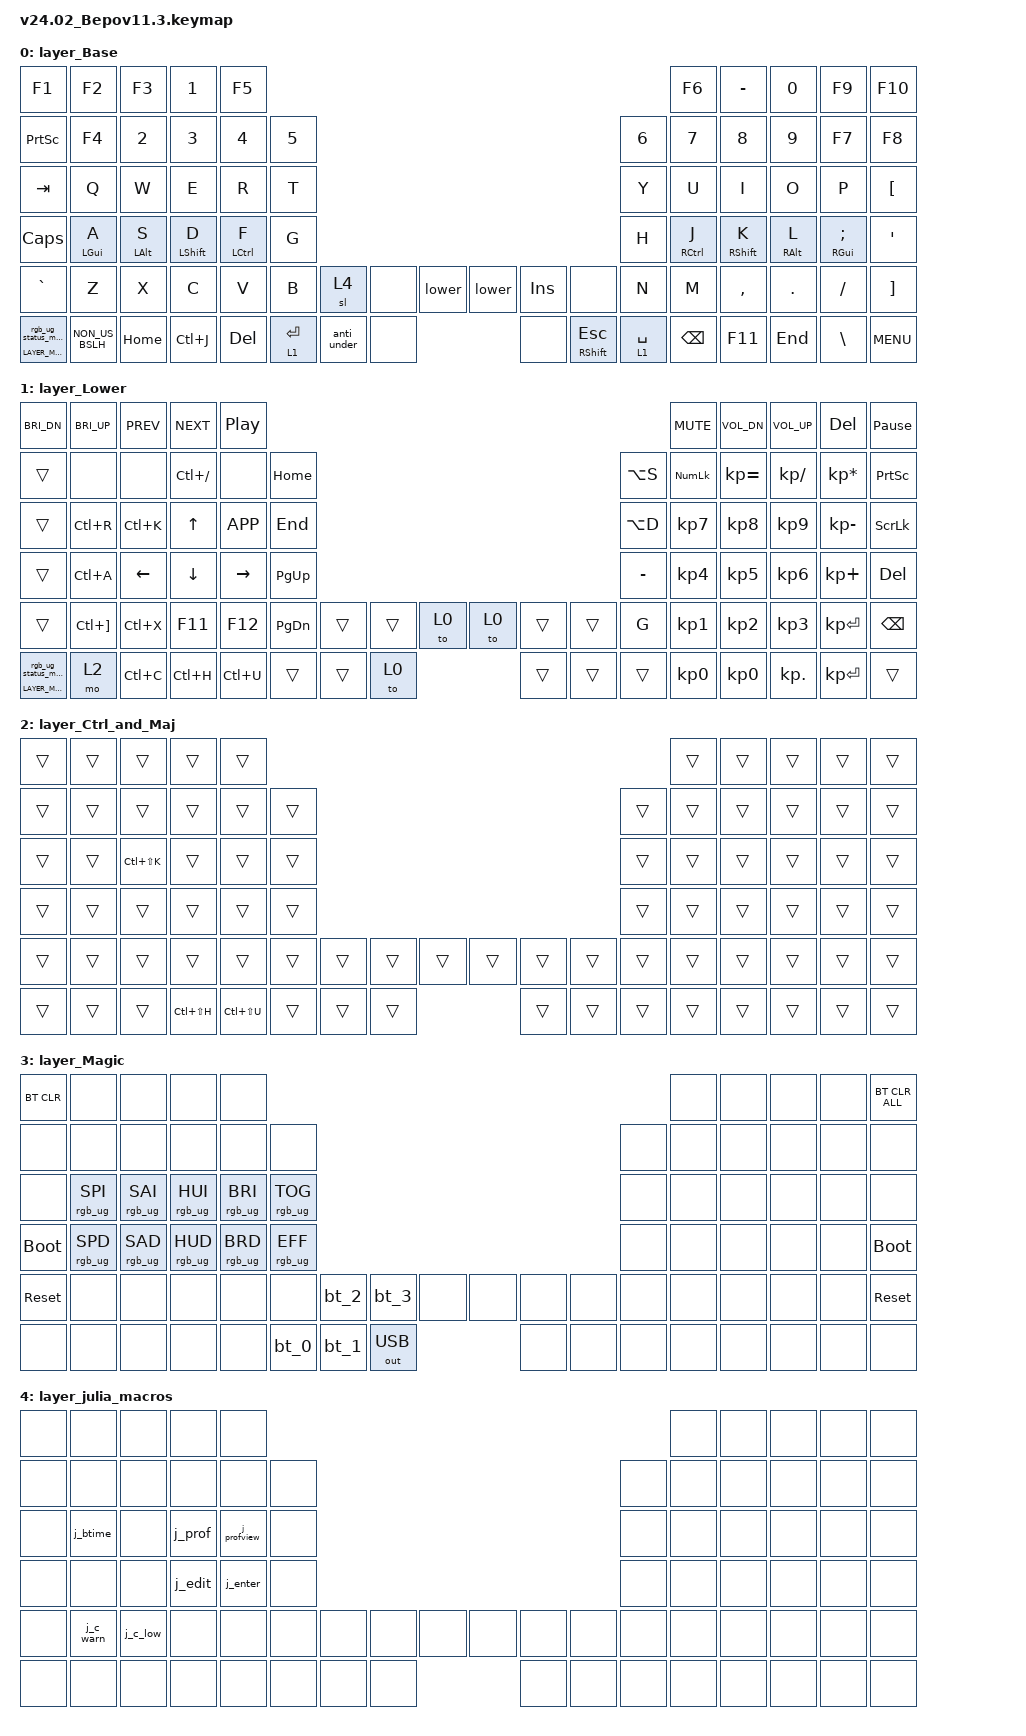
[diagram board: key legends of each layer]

/*
 * Copyright (c) 2020 The ZMK Contributors
 * Copyright (c) 2023 Innaworks Development Limited, trading as MoErgo
 *
 * SPDX-License-Identifier: MIT
 */


/* THIS FILE WAS GENERATED BY GLOVE80 LAYOUT EDITOR
 *
 * This file was generated automatically. You may or may not want to
 * edit it directly.
 */

#include <behaviors.dtsi>
/* Include all behavior includes needed */
#include <dt-bindings/zmk/outputs.h>
#include <dt-bindings/zmk/keys.h>
#include <dt-bindings/zmk/bt.h>
#include <dt-bindings/zmk/rgb.h>

/* Automatically generated layer name #define */
#define LAYER_Base 0
#define LAYER_Lower 1
#define LAYER_Ctrl_and_Maj 2
#define LAYER_Magic 3
#define LAYER_julia_macros 4

/* To deal with the situation where there is no Lower layer, to keep &lower happy */
#ifndef LAYER_Lower
#define LAYER_Lower 0
#endif

/* Custom Device-tree */



/* Glove80 system behavior & macros */
/ {
    behaviors {
        // For the "layer" key, it'd nice to be able to use it as either a shift or a toggle.
        // Configure it as a tap dance, so the first tap (or hold) is a &mo and the second tap is a &to
        lower: lower {
            compatible = "zmk,behavior-tap-dance";
            label = "LAYER_TAP_DANCE";
            #binding-cells = <0>;
            tapping-term-ms = <200>;
            bindings = <&mo LAYER_Lower>, <&to LAYER_Lower>;
        };
    };
};

/ {
    macros {
        rgb_ug_status_macro: rgb_ug_status_macro {
            label = "RGB_UG_STATUS";
            compatible = "zmk,behavior-macro";
            #binding-cells = <0>;
            bindings
                = <&rgb_ug RGB_STATUS>;
        };
    };
};


/ {
#ifdef BT_DISC_CMD
    behaviors {
        bt_0: bt_0 {
            compatible = "zmk,behavior-tap-dance";
            label = "BT_0";
            #binding-cells = <0>;
            tapping-term-ms = <200>;
            bindings = <&bt_select_0>, <&bt BT_DISC 0>;
        };
        bt_1: bt_1 {
            compatible = "zmk,behavior-tap-dance";
            label = "BT_1";
            #binding-cells = <0>;
            tapping-term-ms = <200>;
            bindings = <&bt_select_1>, <&bt BT_DISC 1>;
        };
        bt_2: bt_2 {
            compatible = "zmk,behavior-tap-dance";
            label = "BT_2";
            #binding-cells = <0>;
            tapping-term-ms = <200>;
            bindings = <&bt_select_2>, <&bt BT_DISC 2>;
        };
        bt_3: bt_3 {
            compatible = "zmk,behavior-tap-dance";
            label = "BT_3";
            #binding-cells = <0>;
            tapping-term-ms = <200>;
            bindings = <&bt_select_3>, <&bt BT_DISC 3>;
        };
    };
    macros {
        bt_select_0: bt_select_0 {
            label = "BT_SELECT_0";
            compatible = "zmk,behavior-macro";
            #binding-cells = <0>;
            bindings
                = <&out OUT_BLE>,
                  <&bt BT_SEL 0>;
        };
        bt_select_1: bt_select_1 {
            label = "BT_SELECT_1";
            compatible = "zmk,behavior-macro";
            #binding-cells = <0>;
            bindings
                = <&out OUT_BLE>,
                  <&bt BT_SEL 1>;
        };
        bt_select_2: bt_select_2 {
            label = "BT_SELECT_2";
            compatible = "zmk,behavior-macro";
            #binding-cells = <0>;
            bindings
                = <&out OUT_BLE>,
                  <&bt BT_SEL 2>;
        };
        bt_select_3: bt_select_3 {
            label = "BT_SELECT_3";
            compatible = "zmk,behavior-macro";
            #binding-cells = <0>;
            bindings
                = <&out OUT_BLE>,
                  <&bt BT_SEL 3>;
        };
    };
#else
    macros {
        bt_0: bt_0 {
            label = "BT_0";
            compatible = "zmk,behavior-macro";
            #binding-cells = <0>;
            bindings
                = <&out OUT_BLE>,
                  <&bt BT_SEL 0>;
        };
        bt_1: bt_1 {
            label = "BT_1";
            compatible = "zmk,behavior-macro";
            #binding-cells = <0>;
            bindings
                = <&out OUT_BLE>,
                  <&bt BT_SEL 1>;
        };
        bt_2: bt_2 {
            label = "BT_2";
            compatible = "zmk,behavior-macro";
            #binding-cells = <0>;
            bindings
                = <&out OUT_BLE>,
                  <&bt BT_SEL 2>;
        };
        bt_3: bt_3 {
            label = "BT_3";
            compatible = "zmk,behavior-macro";
            #binding-cells = <0>;
            bindings
                = <&out OUT_BLE>,
                  <&bt BT_SEL 3>;
        };
    };
#endif
};

/ {
    behaviors {
        magic: magic {
            compatible = "zmk,behavior-hold-tap";
            label = "MAGIC_HOLD_TAP";
            #binding-cells = <2>;
            flavor = "tap-preferred";
            tapping-term-ms = <200>;
            bindings = <&mo>, <&rgb_ug_status_macro>;
        };
    };
};

/* #define for key positions */
#define POS_LH_T1 52
#define POS_LH_T2 53
#define POS_LH_T3 54
#define POS_LH_T4 69
#define POS_LH_T5 70
#define POS_LH_T6 71
#define POS_LH_C1R2 15
#define POS_LH_C1R3 27
#define POS_LH_C1R4 39
#define POS_LH_C1R5 51
#define POS_LH_C2R1 4
#define POS_LH_C2R2 14
#define POS_LH_C2R3 26
#define POS_LH_C2R4 38
#define POS_LH_C2R5 50
#define POS_LH_C2R6 68
#define POS_LH_C3R1 3
#define POS_LH_C3R2 13
#define POS_LH_C3R3 25
#define POS_LH_C3R4 37
#define POS_LH_C3R5 49
#define POS_LH_C3R6 67
#define POS_LH_C4R1 2
#define POS_LH_C4R2 12
#define POS_LH_C4R3 24
#define POS_LH_C4R4 36
#define POS_LH_C4R5 48
#define POS_LH_C4R6 66
#define POS_LH_C5R1 1
#define POS_LH_C5R2 11
#define POS_LH_C5R3 23
#define POS_LH_C5R4 35
#define POS_LH_C5R5 47
#define POS_LH_C5R6 65
#define POS_LH_C6R1 0
#define POS_LH_C6R2 10
#define POS_LH_C6R3 22
#define POS_LH_C6R4 34
#define POS_LH_C6R5 46
#define POS_LH_C6R6 64
#define POS_RH_T1 57
#define POS_RH_T2 56
#define POS_RH_T3 55
#define POS_RH_T4 74
#define POS_RH_T5 73
#define POS_RH_T6 72
#define POS_RH_C1R2 16
#define POS_RH_C1R3 28
#define POS_RH_C1R4 40
#define POS_RH_C1R5 58
#define POS_RH_C2R1 5
#define POS_RH_C2R2 17
#define POS_RH_C2R3 29
#define POS_RH_C2R4 41
#define POS_RH_C2R5 59
#define POS_RH_C2R6 75
#define POS_RH_C3R1 6
#define POS_RH_C3R2 18
#define POS_RH_C3R3 30
#define POS_RH_C3R4 42
#define POS_RH_C3R5 60
#define POS_RH_C3R6 76
#define POS_RH_C4R1 7
#define POS_RH_C4R2 19
#define POS_RH_C4R3 31
#define POS_RH_C4R4 43
#define POS_RH_C4R5 61
#define POS_RH_C4R6 77
#define POS_RH_C5R1 8
#define POS_RH_C5R2 20
#define POS_RH_C5R3 32
#define POS_RH_C5R4 44
#define POS_RH_C5R5 62
#define POS_RH_C5R6 78
#define POS_RH_C6R1 9
#define POS_RH_C6R2 21
#define POS_RH_C6R3 33
#define POS_RH_C6R4 45
#define POS_RH_C6R5 63
#define POS_RH_C6R6 79

/* Custom Defined Behaviors */
/ {
behaviors {
    behavior_layer_tap {
        flavor = "tap-preferred";
        tapping-term-ms = <200>;
    };
};

behaviors {
    behavior_mod_tap {
        flavor = "tap-preferred";
        tapping-term-ms = <170>;
        quick-tap-ms = <170>;
    };
};

#define MY_KEYS_L 0 1 2 3 4  10 11 12 13 14 15    22 23 24 25 26 27    34 35 36 37 38 39    46 47 48 49 50 51   64 65 66 67 68 // left-hand keys
#define MY_KEYS_R 5 6 7 8 9    16 17 18 19 20 21    28 29 30 31 32 33    40 41 42 43 44 45    58 59 60 61 62 63    75 76 77 78 79  // right-hand keys
#define MY_THUMBS 52 53 54 55 56 57  69 70 71 72 73 74

behaviors {
        hml: left_positional_hold_tap {
            compatible = "zmk,behavior-hold-tap";
            #binding-cells = <2>;
            flavor = "balanced";
            tapping-term-ms = <190>;
            quick-tap-ms = <190>;                // repeat on tap-into-hold
            require-prior-idle-ms = <140>;
            bindings = <&kp>, <&kp>;
            hold-trigger-key-positions = <MY_KEYS_R MY_THUMBS>;
            hold-trigger-on-release;             // delay positional check until key-release
        };

        hmr: right_positional_hold_tap {
            compatible = "zmk,behavior-hold-tap";
            #binding-cells = <2>;
            flavor = "balanced";
            tapping-term-ms = <190>;
            quick-tap-ms = <190>;                // repeat on tap-into-hold
            require-prior-idle-ms = <140>;
            bindings = <&kp>, <&kp>;
            hold-trigger-key-positions = <MY_KEYS_L MY_THUMBS>;
            hold-trigger-on-release;             // delay positional check until key-release
        };
};
};

/* Automatically generated macro definitions */
/ {
    macros {
        anti_under: anti_under {
            label = "&ANTI_UNDER";
            compatible = "zmk,behavior-macro";
            #binding-cells = <0>;
            
            
            bindings
                = <&kp RA(E)>
                , <&kp RA(M)>;
        };
    j_btime: j_btime {
            label = "&J_BTIME";
            compatible = "zmk,behavior-macro";
            #binding-cells = <0>;
            
            
            bindings
                = <&kp HOME>
                , <&kp N9>
                , <&kp Q>
                , <&kp J>
                , <&kp D>
                , <&kp SQT>
                , <&kp F>
                , <&kp SPACE>;
        };
    j_c_warn: j_c_warn {
            label = "&J_C_WARN";
            compatible = "zmk,behavior-macro";
            #binding-cells = <0>;
            
            
            bindings
                = <&kp HOME>
                , <&kp N9>
                , <&kp H>
                , <&kp R>
                , <&kp I>
                , <&kp F>
                , <&kp LA(M)>
                , <&kp Z>
                , <&kp A>
                , <&kp L>
                , <&kp SEMI>
                , <&kp J>
                , <&kp X>
                , <&kp E>
                , <&kp F>
                , <&kp SPACE>;
        };
    j_enter: j_enter {
            label = "&J_ENTER";
            compatible = "zmk,behavior-macro";
            #binding-cells = <0>;
            
            
            bindings
                = <&kp HOME>
                , <&kp N9>
                , <&kp F>
                , <&kp SEMI>
                , <&kp J>
                , <&kp F>
                , <&kp L>
                , <&kp SPACE>;
        };
    j_prof: j_prof {
            label = "&J_PROF";
            compatible = "zmk,behavior-macro";
            #binding-cells = <0>;
            
            
            bindings
                = <&kp HOME>
                , <&kp N9>
                , <&kp E>
                , <&kp L>
                , <&kp R>
                , <&kp FSLH>
                , <&kp D>
                , <&kp O>
                , <&kp F>
                , <&kp SPACE>;
        };
    j_profview: j_profview {
            label = "&J_PROFVIEW";
            compatible = "zmk,behavior-macro";
            #binding-cells = <0>;
            
            
            bindings
                = <&kp HOME>
                , <&kp N9>
                , <&kp E>
                , <&kp L>
                , <&kp R>
                , <&kp FSLH>
                , <&kp U>
                , <&kp D>
                , <&kp F>
                , <&kp Z>
                , <&kp SPACE>;
        };
    j_c_low: j_c_low {
            label = "&J_C_LOW";
            compatible = "zmk,behavior-macro";
            #binding-cells = <0>;
            
            
            bindings
                = <&kp HOME>
                , <&kp N9>
                , <&kp H>
                , <&kp R>
                , <&kp I>
                , <&kp F>
                , <&kp LA(M)>
                , <&kp O>
                , <&kp R>
                , <&kp Z>
                , <&kp F>
                , <&kp L>
                , <&kp F>
                , <&kp I>
                , <&kp SPACE>;
        };
    j_edit: j_edit {
            label = "&J_EDIT";
            compatible = "zmk,behavior-macro";
            #binding-cells = <0>;
            
            
            bindings
                = <&kp HOME>
                , <&kp N9>
                , <&kp F>
                , <&kp I>
                , <&kp D>
                , <&kp J>
                , <&kp SPACE>;
        };
    };
};

/* Automatically generated keymap */
/ {
    keymap {
        compatible = "zmk,keymap";


        layer_Base {
            bindings = <
               &kp F1           &kp F2       &kp F3        &kp N1        &kp F5                                                                                            &kp F6     &kp MINUS       &kp N0          &kp F9     &kp F10
            &kp PSCRN           &kp F4       &kp N2        &kp N3        &kp N4  &kp N5                                                                      &kp N6        &kp N7        &kp N8       &kp N9          &kp F7      &kp F8
              &kp TAB            &kp Q        &kp W         &kp E         &kp R   &kp T                                                                       &kp Y         &kp U         &kp I        &kp O           &kp P    &kp LBKT
             &kp CAPS      &hml LGUI A  &hml LALT S  &hml LSHFT D  &hml LCTRL F   &kp G                                                                       &kp H  &hmr RCTRL J  &hmr RSHFT K  &hmr RALT L  &hmr RGUI SEMI     &kp SQT
            &kp GRAVE            &kp Z        &kp X         &kp C         &kp V   &kp B      &sl 4        &none  &lower  &lower        &kp INS        &none   &kp N         &kp M     &kp COMMA      &kp DOT        &kp FSLH    &kp RBKT
 &magic LAYER_Magic 0  &kp NON_US_BSLH     &kp HOME     &kp LC(J)       &kp DEL          &lt 1 RET  &anti_under   &none   &none  &mt RSHFT ESC  &lt 1 SPACE              &kp BSPC       &kp F11      &kp END        &kp BSLH  &kp C_MENU
            >;
        };

        layer_Lower {
            bindings = <
         &kp C_BRI_DN  &kp C_BRI_UP      &kp C_PREV      &kp C_NEXT         &kp C_PP                                                                        &kp C_MUTE  &kp C_VOL_DN  &kp C_VOL_UP          &kp DEL  &kp PAUSE_BREAK
               &trans         &none           &none    &kp LC(FSLH)            &none   &kp HOME                                                  &kp LA(S)  &kp KP_NUM  &kp KP_EQUAL  &kp KP_SLASH  &kp KP_MULTIPLY  &kp PRINTSCREEN
               &trans     &kp LC(R)       &kp LC(K)    &kp UP_ARROW        &kp K_APP    &kp END                                                  &kp LA(D)   &kp KP_N7     &kp KP_N8     &kp KP_N9     &kp KP_MINUS   &kp SCROLLLOCK
               &trans     &kp LC(A)  &kp LEFT_ARROW  &kp DOWN_ARROW  &kp RIGHT_ARROW  &kp PG_UP                                                  &kp MINUS   &kp KP_N4     &kp KP_N5     &kp KP_N6      &kp KP_PLUS          &kp DEL
               &trans  &kp LC(RBKT)       &kp LC(X)         &kp F11          &kp F12  &kp PG_DN  &trans  &trans   &to 0   &to 0  &trans  &trans      &kp G   &kp KP_N1     &kp KP_N2     &kp KP_N3     &kp KP_ENTER         &kp BSPC
 &magic LAYER_Magic 0         &mo 2       &kp LC(C)       &kp LC(H)        &kp LC(U)             &trans  &trans   &to 0  &trans  &trans  &trans              &kp KP_N0     &kp KP_N0    &kp KP_DOT     &kp KP_ENTER           &trans
            >;
        };

        layer_Ctrl_and_Maj {
            bindings = <
 &trans  &trans         &trans         &trans         &trans                                                                  &trans  &trans  &trans  &trans  &trans
 &trans  &trans         &trans         &trans         &trans  &trans                                                  &trans  &trans  &trans  &trans  &trans  &trans
 &trans  &trans  &kp LC(LS(K))         &trans         &trans  &trans                                                  &trans  &trans  &trans  &trans  &trans  &trans
 &trans  &trans         &trans         &trans         &trans  &trans                                                  &trans  &trans  &trans  &trans  &trans  &trans
 &trans  &trans         &trans         &trans         &trans  &trans  &trans  &trans  &trans  &trans  &trans  &trans  &trans  &trans  &trans  &trans  &trans  &trans
 &trans  &trans         &trans  &kp LC(LS(H))  &kp LC(LS(U))          &trans  &trans  &trans  &trans  &trans  &trans          &trans  &trans  &trans  &trans  &trans
            >;
        };

        layer_Magic {
            bindings = <
  &bt BT_CLR            &none            &none            &none            &none                                                                                  &none   &none   &none   &none  &bt BT_CLR_ALL
       &none            &none            &none            &none            &none            &none                                                         &none   &none   &none   &none   &none           &none
       &none  &rgb_ug RGB_SPI  &rgb_ug RGB_SAI  &rgb_ug RGB_HUI  &rgb_ug RGB_BRI  &rgb_ug RGB_TOG                                                         &none   &none   &none   &none   &none           &none
 &bootloader  &rgb_ug RGB_SPD  &rgb_ug RGB_SAD  &rgb_ug RGB_HUD  &rgb_ug RGB_BRD  &rgb_ug RGB_EFF                                                         &none   &none   &none   &none   &none     &bootloader
  &sys_reset            &none            &none            &none            &none            &none   &bt_2   &bt_3         &none   &none   &none   &none   &none   &none   &none   &none   &none      &sys_reset
       &none            &none            &none            &none            &none                    &bt_0   &bt_1  &out OUT_USB   &none   &none   &none           &none   &none   &none   &none           &none
            >;
        };

        layer_julia_macros {
            bindings = <
  &none      &none     &none    &none        &none                                                                   &none   &none   &none   &none   &none
  &none      &none     &none    &none        &none   &none                                                   &none   &none   &none   &none   &none   &none
  &none   &j_btime     &none  &j_prof  &j_profview   &none                                                   &none   &none   &none   &none   &none   &none
  &none      &none     &none  &j_edit     &j_enter   &none                                                   &none   &none   &none   &none   &none   &none
  &none  &j_c_warn  &j_c_low    &none        &none   &none   &none   &none   &none   &none   &none   &none   &none   &none   &none   &none   &none   &none
  &none      &none     &none    &none        &none           &none   &none   &none   &none   &none   &none           &none   &none   &none   &none   &none
            >;
        };

    };
};
